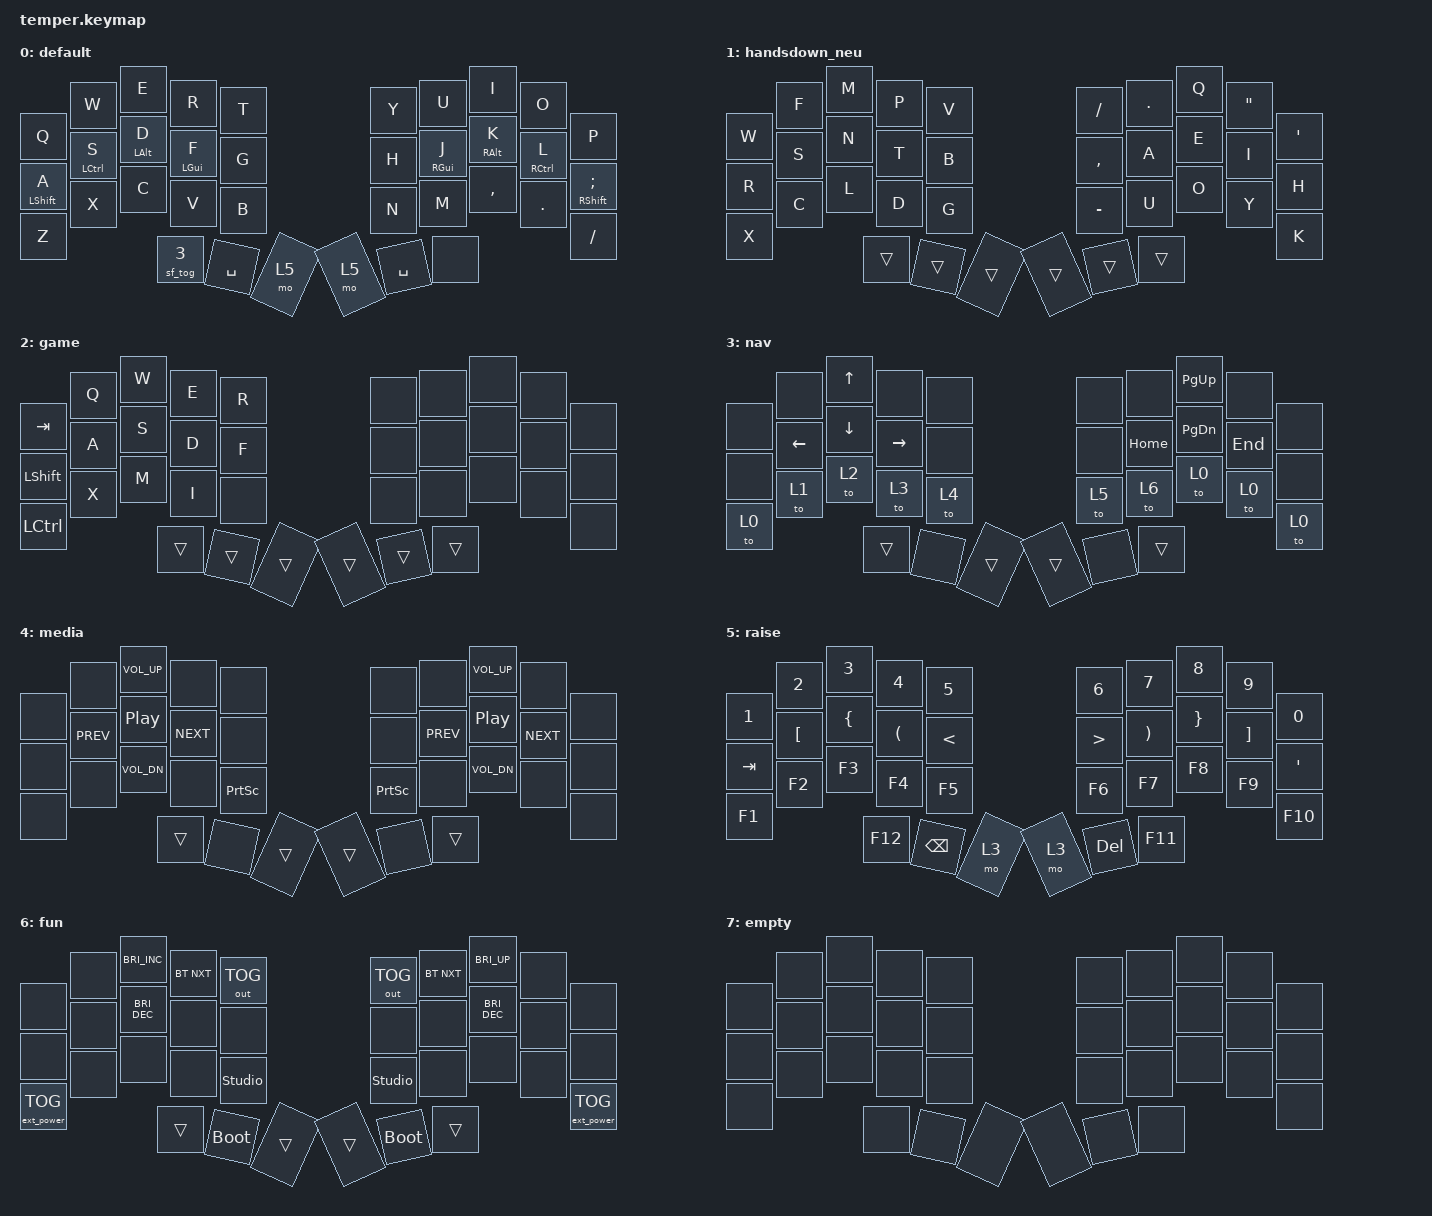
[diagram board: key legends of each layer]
/*
 * Copyright (c) 2020 duckyb
 *
 * SPDX-License-Identifier: MIT
 */

#include <dt-bindings/zmk/mouse.h>
#include <behaviors.dtsi>
#include <dt-bindings/zmk/bt.h>
#include <dt-bindings/zmk/ext_power.h>
#include <dt-bindings/zmk/keys.h>
#include <dt-bindings/zmk/outputs.h>

#define DEFAULT 0
#define DEFAULT_1h 0
#define HNSD 2
#define HNSD_1h 3
#define NUM 4
#define NUM_1h 5
#define NAV 6
#define NAV_1h 7
#define FUN 8
#define FUN_1h 9
#define RAISE 10
#define RAISE_1h 11

&sk { quick-release; };

&lt {
    flavor = "hold-preferred";
    quick-tap-ms = <180>;
};

/ {
    #include "../shared.behaviors.dtsi"

    #include "../shared.combos.dtsi"

    combos {
        compatible = "zmk,combos";

        nav_back {
            bindings = <&tog 3>;
            key-positions = <30 35>;
            layers = <0 1 2>;
        };

        rh_prevent_nav_space {
            bindings = <&kp SPACE>;
            key-positions = <35 34>;
            layers = <0 1 2>;
            timeout-ms = <150>;
        };
    };

    #include "../shared.macros.dtsi"

/*                KEY POSITIONS
  ╭────────────────────╮ ╭────────────────────╮
  │  0   1   2   3   4 │ │  5   6   7   8   9 │
  │ 10  11  12  13  14 │ │ 15  16  17  18  19 │
  │ 20  21  22  23  24 │ │ 25  26  27  28  29 │
  ╰───────╮ 30  31  32 │ │ 33  34  35 ╭───────╯
          ╰────────────╯ ╰────────────╯        */
          
    keymap {
        compatible = "zmk,keymap";

        default {
            bindings = <
  &kp Q             &kp W        &kp E           &kp R           &kp T    &kp Y  &kp U            &kp I            &kp O                &kp P
  &hm LEFT_SHIFT A  &hm LCTRL S  &hm LEFT_ALT D  &hm LEFT_GUI F  &kp G    &kp H  &hm RIGHT_GUI J  &hm RIGHT_ALT K  &hm RIGHT_CONTROL L  &hm RIGHT_SHIFT SEMI
  &kp Z             &kp X        &kp C           &kp V           &kp B    &kp N  &kp M            &kp COMMA        &kp DOT              &kp FSLH
                                 &sf_tog 3       &kp SPACE       &mo 5    &mo 5  &kp SPACE        &none
            >;
        };

        handsdown_neu {
            bindings = <
  &kp W  &kp F  &kp M   &kp P   &kp V     &kp FSLH   &kp DOT  &kp Q   &kp DQT  &kp APOS
  &kp R  &kp S  &kp N   &kp T   &kp B     &kp COMMA  &kp A    &kp E   &kp I    &kp H
  &kp X  &kp C  &kp L   &kp D   &kp G     &kp MINUS  &kp U    &kp O   &kp Y    &kp K
                &trans  &trans  &trans    &trans     &trans   &trans
            >;
        };

        game {
            bindings = <
  &kp TAB         &kp Q  &kp W   &kp E   &kp R     &none   &none   &none   &none  &none
  &kp LEFT_SHIFT  &kp A  &kp S   &kp D   &kp F     &none   &none   &none   &none  &none
  &kp LCTRL       &kp X  &kp M   &kp I   &none     &none   &none   &none   &none  &none
                         &trans  &trans  &trans    &trans  &trans  &trans
            >;
        };

        nav {
            bindings = <
  &none  &none     &kp UP    &none      &none     &none   &none     &kp PG_UP  &none    &none
  &none  &kp LEFT  &kp DOWN  &kp RIGHT  &none     &none   &kp HOME  &kp PG_DN  &kp END  &none
  &to 0  &to 1     &to 2     &to 3      &to 4     &to 5   &to 6     &to 0      &to 0    &to 0
                   &trans    &none      &trans    &trans  &none     &trans
            >;
        };

        media {
            bindings = <
  &none  &none       &kp C_VOL_UP      &none       &none              &none            &none       &kp C_VOL_UP  &none       &none
  &none  &kp C_PREV  &kp C_PLAY_PAUSE  &kp C_NEXT  &none              &none            &kp C_PREV  &kp C_PP      &kp C_NEXT  &none
  &none  &none       &kp C_VOL_DN      &none       &kp PRINTSCREEN    &kp PRINTSCREEN  &none       &kp C_VOL_DN  &none       &none
                     &trans            &none       &trans             &trans           &none       &trans
            >;
        };

        raise {
            bindings = <
  &kp N1   &kp N2    &kp N3    &kp N4    &kp N5    &kp N6  &kp N7    &kp N8    &kp N9    &kp N0
  &kp TAB  &kp LBKT  &kp LBRC  &kp LPAR  &kp LT    &kp GT  &kp RPAR  &kp RBRC  &kp RBKT  &kp APOS
  &kp F1   &kp F2    &kp F3    &kp F4    &kp F5    &kp F6  &kp F7    &kp F8    &kp F9    &kp F10
                     &kp F12   &kp BSPC  &mo 3     &mo 3   &kp DEL   &kp F11
            >;
        };

        fun {
            bindings = <
  &none              &none  &kp C_BRI_INC  &bt BT_NXT   &out OUT_TOG      &out OUT_TOG    &bt BT_NXT   &kp C_BRI_UP   &none  &none
  &none              &none  &kp C_BRI_DEC  &none        &none             &none           &none        &kp C_BRI_DEC  &none  &none
  &ext_power EP_TOG  &none  &none          &none        &studio_unlock    &studio_unlock  &none        &none          &none  &ext_power EP_TOG
                            &trans         &bootloader  &trans            &trans          &bootloader  &trans
            >;
        };

        empty {
            bindings = <
  &none  &none  &none  &none  &none    &none  &none  &none  &none  &none
  &none  &none  &none  &none  &none    &none  &none  &none  &none  &none
  &none  &none  &none  &none  &none    &none  &none  &none  &none  &none
                &none  &none  &none    &none  &none  &none
            >;
        };
    };
};
